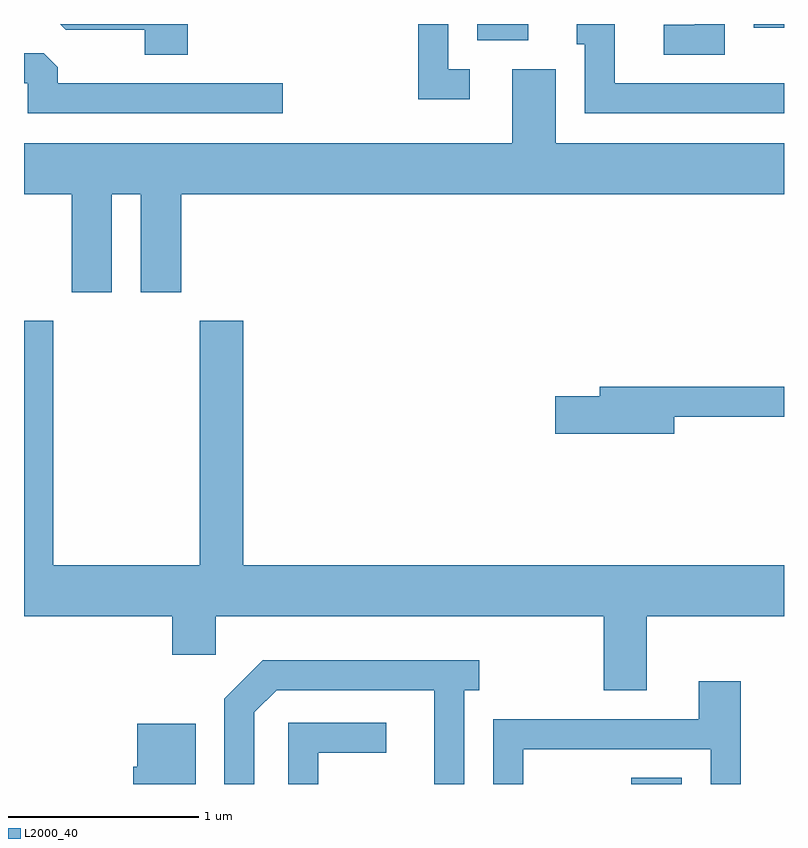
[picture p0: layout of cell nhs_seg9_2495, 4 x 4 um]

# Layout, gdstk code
import gdstk
lib = gdstk.Library(unit=1e-6, precision=1e-09)
def R(c, l, rs):  # rectangles x0, y0, x1, y1
    for r in rs: c.add(gdstk.rectangle(r[:2], r[2:], *l))
def P(c, l, *ps):  # polygons
    for p in ps: c.add(gdstk.Polygon(p, *l))
L2000_40 = (2000, 40)

nhs_seg9_2495 = lib.new_cell('nhs_seg9_2495')
R(nhs_seg9_2495, L2000_40, [(260.806,2046.432,261.074,2046.464), (259.996,2050.346,260.264,2050.432), (261.451,2050.411,261.611,2050.432)])
P(nhs_seg9_2495, L2000_40, [(258.474,2050.432),(257.801,2050.432),(257.832,2050.401),(258.246,2050.401),(258.246,2050.271),(258.474,2050.271)],
  [(261.299,2050.432),(261.141,2050.432),(261.141,2050.429),(260.978,2050.429),(260.978,2050.271),(261.299,2050.271)],
  [(259.957,2050.194),(259.844,2050.194),(259.844,2050.432),(259.686,2050.432),(259.686,2050.036),(259.957,2050.036)],
  [(261.611,2050.119),(260.719,2050.119),(260.719,2050.432),(260.521,2050.432),(260.521,2050.326),(260.561,2050.326),(260.561,2049.961),(261.611,2049.961)],
  [(258.973,2050.119),(257.789,2050.119),(257.789,2050.204),(257.714,2050.279),(257.611,2050.279),(257.611,2050.121),(257.631,2050.121),(257.631,2049.961),(258.973,2049.961)],
  [(258.074,2049.536),(258.226,2049.536),(258.226,2049.021),(258.439,2049.021),(258.439,2049.536),(261.611,2049.536),(261.611,2049.804),(260.409,2049.804),(260.409,2050.194),(260.181,2050.194),(260.181,2049.804),(257.611,2049.804),(257.611,2049.536),(257.861,2049.536),(257.861,2049.021),(258.074,2049.021)],
  [(260.889,2047.316),(261.611,2047.316),(261.611,2047.584),(258.764,2047.584),(258.764,2048.869),(258.536,2048.869),(258.536,2047.584),(257.764,2047.584),(257.764,2048.869),(257.611,2048.869),(257.611,2047.316),(258.391,2047.316),(258.391,2047.111),(258.619,2047.111),(258.619,2047.316),(260.661,2047.316),(260.661,2046.926),(260.889,2046.926)],
  [(261.034,2048.366),(261.611,2048.366),(261.611,2048.524),(260.641,2048.524),(260.641,2048.474),(260.406,2048.474),(260.406,2048.276),(261.034,2048.276)],
  [(258.824,2046.809),(258.942,2046.926),(259.771,2046.926),(259.771,2046.432),(259.929,2046.432),(259.929,2046.926),(260.008,2046.926),(260.008,2047.084),(258.868,2047.084),(258.666,2046.882),(258.666,2046.432),(258.824,2046.432)],
  [(260.239,2046.616),(261.226,2046.616),(261.226,2046.432),(261.384,2046.432),(261.384,2046.974),(261.161,2046.974),(261.161,2046.774),(260.081,2046.774),(260.081,2046.432),(260.239,2046.432)],
  [(259.159,2046.596),(259.517,2046.596),(259.517,2046.754),(259.001,2046.754),(259.001,2046.432),(259.159,2046.432)],
  [(258.514,2046.749),(258.206,2046.749),(258.206,2046.524),(258.186,2046.524),(258.186,2046.432),(258.514,2046.432)])

lib.write_gds('nhs_seg9_2495.gds')
